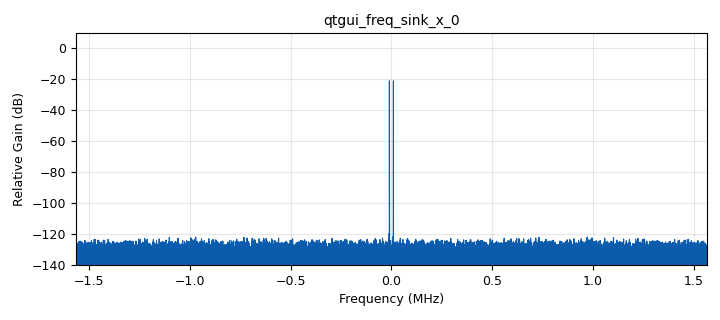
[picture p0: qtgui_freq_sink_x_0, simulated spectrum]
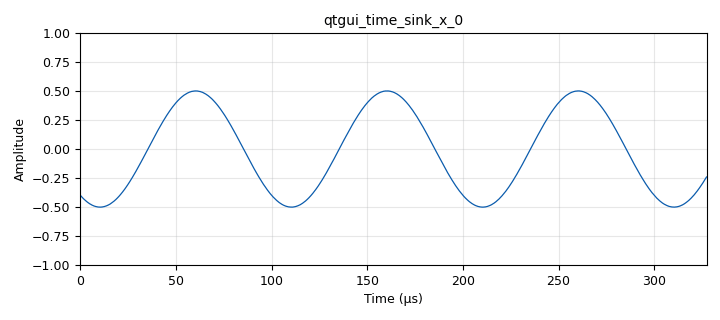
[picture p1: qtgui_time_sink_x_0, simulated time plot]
options:
  parameters:
    author: labcom
    generate_options: qt_gui
    id: Practica2_parteB
    output_language: python
    title: PracticaB1
  states: {}

blocks:
- name: A
  id: variable_qtgui_range
  parameters:
    label: Amplitud de señal
    start: '0'
    step: '1e-2'
    stop: '500e-3'
    value: '500e-3'
  states: {}
- name: GTX
  id: variable_qtgui_range
  parameters:
    label: Ganancia Transmisor
    start: '0'
    step: '500e-3'
    stop: '30'
    value: '500e-3'
  states: {}
- name: 'No'
  id: variable_qtgui_range
  parameters:
    label: Amplitud Ruido
    start: '0'
    step: '1e-6'
    stop: '100e-3'
    value: '1e-4'
  states: {}
- name: fc
  id: variable_qtgui_range
  parameters:
    label: Frecuencia Portadora
    start: 50e6
    step: 100e3
    stop: 1e9
    value: 200e6
  states: {}
- name: fcut
  id: variable_qtgui_range
  parameters:
    start: '0'
    step: '100'
    stop: samp_rate/2
    value: samp_rate/2
  states: {}
- name: fm
  id: variable_qtgui_range
  parameters:
    label: Frecuencia De Señal
    start: 1e3
    step: 1e3
    stop: 1e6
    value: 10e3
  states: {}
- name: samp_rate
  id: variable
  parameters:
    value: 3.125e6
  states: {}
- name: t_band
  id: variable_qtgui_range
  parameters:
    label: Banda de Transicion
    start: '0'
    step: '100'
    stop: samp_rate/20
    value: samp_rate/20
  states: {}
- name: analog_noise_source_x_0
  id: analog_noise_source_x
  parameters:
    alias: analog_noise_source_x_0
    amp: 'No'
    noise_type: analog.GR_GAUSSIAN
    seed: '0'
    type: float
  states: {}
- name: analog_sig_source_x_0
  id: analog_sig_source_x
  parameters:
    alias: Analog_sig_source_x_0
    amp: A
    freq: fm
    offset: '0'
    phase: '0'
    samp_rate: samp_rate
    type: float
    waveform: analog.GR_SIN_WAVE
  states: {}
- name: blocks_add_xx_0
  id: blocks_add_xx
  parameters:
    alias: blocks_add_xx_0
    type: float
  states: {}
- name: blocks_float_to_complex_0
  id: blocks_float_to_complex
  parameters:
    alias: blocks_float_to_complex_0
  states: {}
- name: blocks_throttle2_0
  id: blocks_throttle2
  parameters:
    alias: blocks_throttle2_0
    samples_per_second: samp_rate
    type: float
  states: {}
- name: low_pass_filter_0
  id: low_pass_filter
  parameters:
    alias: low_pass_filter_0
    cutoff_freq: fcut
    decim: '1'
    gain: '1'
    samp_rate: samp_rate
    type: fir_filter_fff
    width: t_band
    win: window.WIN_HAMMING
  states: {}
- name: qtgui_freq_sink_x_0
  id: qtgui_freq_sink_x
  parameters:
    alias: qtgui_freq_sink_x_0
    bw: samp_rate
    fc: '0'
    fftsize: '32768'
    type: float
  states: {}
- name: qtgui_time_sink_x_0
  id: qtgui_time_sink_x
  parameters:
    alias: qtgui_time_sink_x_0
    size: '1024'
    srate: samp_rate
    type: float
  states: {}
- name: uhd_usrp_sink_0
  id: uhd_usrp_sink
  parameters:
    alias: uhd_usrp_sink_0
    ant0: '"TX/RX"'
    center_freq0: fc
    gain0: GTX
    samp_rate: samp_rate
    sync: pc_clock
    type: fc32
  states: {}

connections:
- [analog_noise_source_x_0, '0', blocks_add_xx_0, '1']
- [analog_sig_source_x_0, '0', blocks_throttle2_0, '0']
- [blocks_add_xx_0, '0', low_pass_filter_0, '0']
- [blocks_float_to_complex_0, '0', uhd_usrp_sink_0, '0']
- [blocks_throttle2_0, '0', blocks_add_xx_0, '0']
- [low_pass_filter_0, '0', blocks_float_to_complex_0, '0']
- [low_pass_filter_0, '0', qtgui_freq_sink_x_0, '0']
- [low_pass_filter_0, '0', qtgui_time_sink_x_0, '0']

metadata:
  file_format: 1
  grc_version: v3.11.0.0git-810-g1ecb8565
